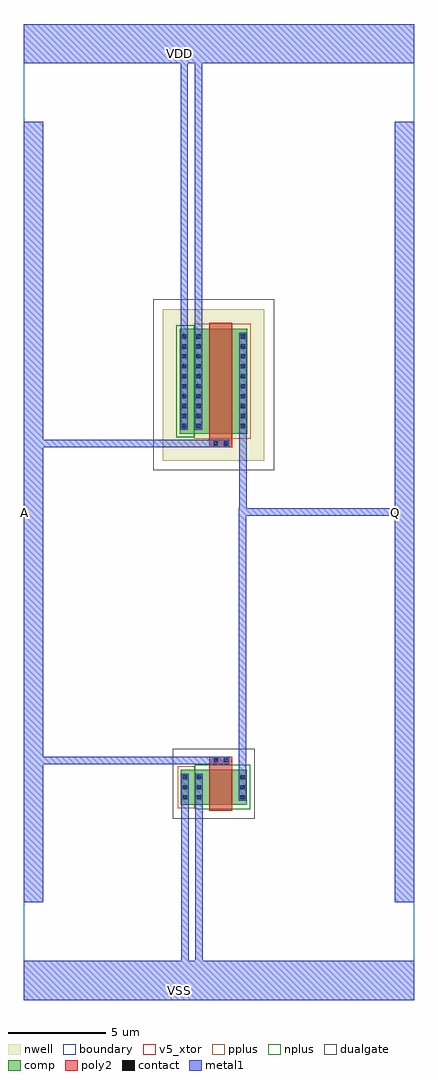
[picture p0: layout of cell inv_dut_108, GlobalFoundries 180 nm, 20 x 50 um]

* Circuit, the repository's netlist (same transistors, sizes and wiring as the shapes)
** sch_path: /home/ishi-kai/inverter/inv_dut_108.sch
.subckt inv_dut_108 VDD VSS A Q
*.PININFO VDD:B VSS:B A:I Q:O
M1 Q A VDD VDD pfet_05v0 L=1.20u W=5.40u nf=1
M2 Q A VSS VSS nfet_05v0 L=1.20u W=1.80u nf=1
.ends

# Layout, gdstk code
import gdstk
lib = gdstk.Library(unit=1e-6, precision=1e-09)
def R(c, l, rs):  # rectangles x0, y0, x1, y1
    for r in rs: c.add(gdstk.rectangle(r[:2], r[2:], *l))
def A(c, l, x, y, w, h, nx, ny, dx, dy):  # array of equal rectangles
    R(c, l, [(x+i*dx, y+j*dy, x+i*dx+w, y+j*dy+h) for i in range(nx) for j in range(ny)])
def P(c, l, *ps):  # polygons
    for p in ps: c.add(gdstk.Polygon(p, *l))
boundary = (0, 0)
nwell = (21, 0)
comp = (22, 0)
poly2 = (30, 0)
pplus = (31, 0)
nplus = (32, 0)
contact = (33, 0)
metal1 = (34, 0)
dualgate = (55, 0)
v5_xtor = (112, 1)

inv_dut_108 = lib.new_cell('inv_dut_108')
R(inv_dut_108, boundary, [(-10,-25,10,25)])
R(inv_dut_108, nwell, [(-2.87,2.63,2.32,10.39)])
R(inv_dut_108, comp, [(-1.95,-15,1.42,-13.2), (-2.01,4,1.46,9.4)])
R(inv_dut_108, poly2, [(-0.51,-15.3,0.69,-12.54), (-0.51,3.32,0.69,9.7)])
R(inv_dut_108, pplus, [(-2.12,-15.17,-1.24,-13.03), (-1.28,3.76,1.63,9.64)])
R(inv_dut_108, nplus, [(-1.24,-15.24,1.59,-12.96), (-2.18,3.83,-1.28,9.57)])
A(inv_dut_108, contact, -1.85, -14.72, 0.22, 0.22, 1, 3, 0, 0.51)
A(inv_dut_108, contact, -1.14, -14.72, 0.22, 0.22, 1, 3, 0, 0.51)
A(inv_dut_108, contact, 1.1, -14.72, 0.22, 0.22, 1, 3, 0, 0.51)
A(inv_dut_108, contact, -1.89, 4.295, 0.22, 0.22, 1, 10, 0, 0.51)
A(inv_dut_108, contact, -1.16, 4.295, 0.22, 0.22, 1, 10, 0, 0.51)
A(inv_dut_108, contact, 1.12, 4.295, 0.22, 0.22, 1, 10, 0, 0.51)
R(inv_dut_108, contact, [(-0.275,-12.83,-0.055,-12.61), (0.235,-12.83,0.455,-12.61), (-0.275,3.4,-0.055,3.62), (0.235,3.4,0.455,3.62)])
P(inv_dut_108, metal1, [(-10,-25),(-10,-23),(-1.93,-23),(-1.93,-13.4),(-1.55,-13.4),(-1.55,-23),(-1.22,-23),(-1.22,-13.4),(-0.84,-13.4),(-0.84,-23),(10,-23),(10,-25)],
  [(-10,-20),(-10,20),(-9,20),(-9,3.7),(0.535,3.7),(0.535,3.32),(-9,3.32),(-9,-12.53),(0.535,-12.53),(0.535,-12.91),(-9,-12.91),(-9,-20)],
  [(9,-20),(9,-0.19),(1.4,-0.19),(1.4,-14.8),(1.02,-14.8),(1.02,0.19),(1.04,0.19),(1.04,9.185),(1.42,9.185),(1.42,0.19),(9,0.19),(9,20),(10,20),(10,-20)],
  [(-1.97,4.215),(-1.97,23),(-10,23),(-10,25),(10,25),(10,23),(-0.86,23),(-0.86,4.215),(-1.24,4.215),(-1.24,23),(-1.59,23),(-1.59,4.215)])
R(inv_dut_108, dualgate, [(-2.37,-15.71,1.84,-12.12), (-3.37,2.13,2.82,10.89)])
R(inv_dut_108, v5_xtor, [(-2.37,-15.71,1.84,-12.12), (-3.37,2.13,2.82,10.89)])
inv_dut_108.add(gdstk.Label('VDD', (-2,23.5), layer=34, texttype=10))
inv_dut_108.add(gdstk.Label('VSS', (-2,-24.5), layer=34, texttype=10))
inv_dut_108.add(gdstk.Label('A', (-9.97,0), layer=34, texttype=10))
inv_dut_108.add(gdstk.Label('Q', (9.03,0), layer=34, texttype=10))

lib.write_gds('inv_dut_108.gds')
